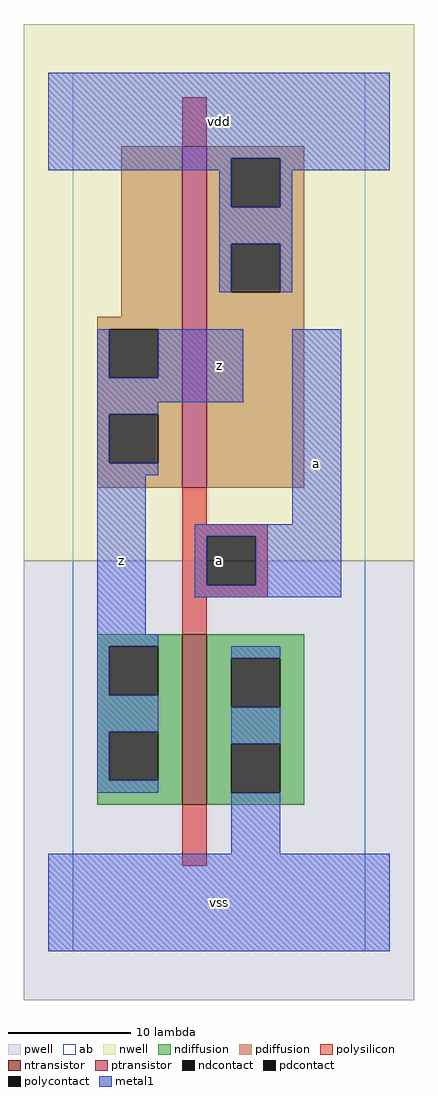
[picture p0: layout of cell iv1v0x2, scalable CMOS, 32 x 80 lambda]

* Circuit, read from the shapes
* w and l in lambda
.subckt iv1v0x2 a vdd vss z
M1 vss a z VSUBS nfet w=14 l=2
M2 vdd a z n1 pfet w=28 l=2
.ends

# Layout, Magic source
magic
tech scmos
<< ab >>
rect 0 0 24 72
<< pwell >>
rect -4 -4 28 32
<< nwell >>
rect -4 32 28 76
<< polysilicon >>
rect 9 66 11 70
rect 9 35 11 38
rect 9 34 16 35
rect 9 30 11 34
rect 15 30 16 34
rect 9 29 16 30
rect 9 26 11 29
rect 9 7 11 12
<< ndiffusion >>
rect 2 25 9 26
rect 2 21 3 25
rect 7 21 9 25
rect 2 18 9 21
rect 2 14 3 18
rect 7 14 9 18
rect 2 12 9 14
rect 11 24 19 26
rect 11 20 13 24
rect 17 20 19 24
rect 11 17 19 20
rect 11 13 13 17
rect 17 13 19 17
rect 11 12 19 13
<< pdiffusion >>
rect 4 52 9 66
rect 2 51 9 52
rect 2 47 3 51
rect 7 47 9 51
rect 2 44 9 47
rect 2 40 3 44
rect 7 40 9 44
rect 2 38 9 40
rect 11 65 19 66
rect 11 61 13 65
rect 17 61 19 65
rect 11 58 19 61
rect 11 54 13 58
rect 17 54 19 58
rect 11 38 19 54
<< metal1 >>
rect -2 65 26 72
rect -2 64 13 65
rect 12 61 13 64
rect 17 64 26 65
rect 17 61 18 64
rect 12 58 18 61
rect 12 54 13 58
rect 17 54 18 58
rect 2 47 3 51
rect 7 47 14 51
rect 2 45 14 47
rect 2 44 7 45
rect 2 40 3 44
rect 2 39 7 40
rect 2 26 6 39
rect 18 35 22 51
rect 10 34 22 35
rect 10 30 11 34
rect 15 30 22 34
rect 10 29 22 30
rect 2 25 7 26
rect 2 21 3 25
rect 2 18 7 21
rect 2 14 3 18
rect 2 13 7 14
rect 13 24 17 25
rect 13 17 17 20
rect 13 8 17 13
rect -2 0 26 8
<< ntransistor >>
rect 9 12 11 26
<< ptransistor >>
rect 9 38 11 66
<< polycontact >>
rect 11 30 15 34
<< ndcontact >>
rect 3 21 7 25
rect 3 14 7 18
rect 13 20 17 24
rect 13 13 17 17
<< pdcontact >>
rect 3 47 7 51
rect 3 40 7 44
rect 13 61 17 65
rect 13 54 17 58
<< labels >>
rlabel metal1 4 32 4 32 6 z
rlabel metal1 12 4 12 4 6 vss
rlabel polycontact 12 32 12 32 6 a
rlabel metal1 12 48 12 48 6 z
rlabel metal1 12 68 12 68 6 vdd
rlabel metal1 20 40 20 40 6 a
<< end >>
